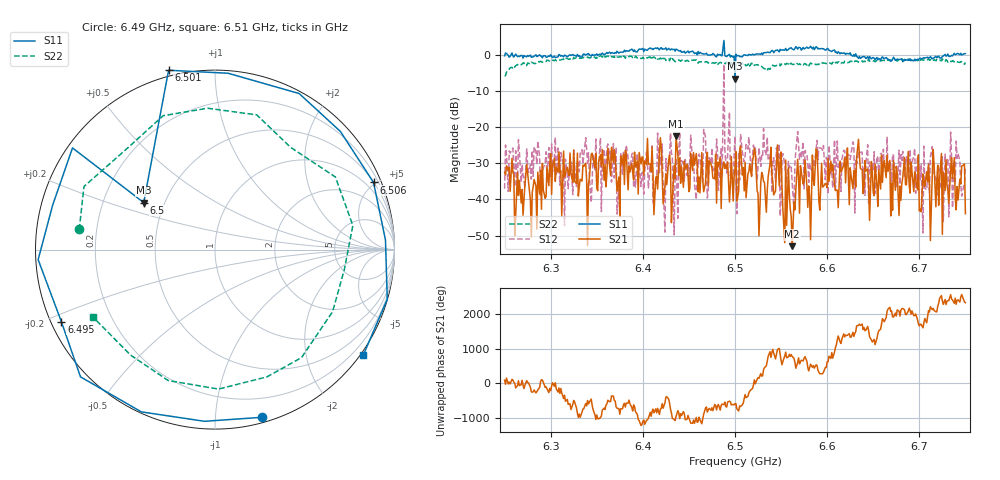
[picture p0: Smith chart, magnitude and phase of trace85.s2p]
# Hz S RI R 50
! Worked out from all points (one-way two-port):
!   401 points, 6.25 GHz to 6.75 GHz, reference 50 ohm
!   highest |S21| = -22.51 dB at 6.436 GHz (marker M1); lowest = -53.0 dB at 6.562 GHz (marker M2)
!   lowest |S11| = -6.5 dB at 6.5 GHz (marker M3), VSWR 2.81, Z = 19.1 + j13 ohm
!   |S11| at or under -10 dB: nowhere
!   |S22| runs from -5.8 to 0.0 dB; largest |S21 - S12| = 0.76
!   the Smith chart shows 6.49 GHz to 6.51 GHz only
!   S11 on the Smith chart (normalised r, x): 6.49 GHz: 0.04, -1.32; 6.495 GHz: 0.03, -0.22; 6.5 GHz: 0.38, +0.26; 6.501 GHz: -0.03, +0.77; 6.506 GHz: 0.52, +4.87; 6.51 GHz: -0.08, -3.12
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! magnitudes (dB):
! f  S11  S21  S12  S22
! 6.25 GHz  -0.2  -32.5  -37.0  -5.8
! 6.264 GHz  -0.4  -32.5  -37.5  -2.6
! 6.334 GHz  -0.5  -34.9  -26.2  -0.8
! 6.375 GHz  0.8  -44.8  -41.0  -0.4
! 6.381 GHz  1.0  -26.4  -27.7  -0.8
! 6.418 GHz  1.5  -27.0  -32.6  -1.0
! 6.43 GHz  1.5  -30.7  -21.6  -0.8
! 6.436 GHz  1.7  -22.5  -28.7  -1.5
! 6.441 GHz  1.3  -35.5  -34.4  -1.7
! 6.49 GHz  -0.3  -30.4  -29.6  -2.3
! 6.495 GHz  -0.5  -35.8  -33.5  -2.1
! 6.5 GHz  -6.5  -31.7  -22.5  -2.2
! 6.501 GHz  0.3  -26.7  -36.5  -2.7
! 6.506 GHz  -0.4  -25.3  -21.9  -2.2
! 6.51 GHz  0.1  -37.6  -29.6  -2.2
! 6.548 GHz  0.9  -36.2  -24.6  -2.4
! 6.562 GHz  1.7  -53.0  -35.0  -2.6
! 6.574 GHz  2.2  -35.8  -24.0  -2.8
! 6.584 GHz  1.8  -27.7  -32.7  -2.4
! 6.586 GHz  1.6  -36.1  -31.1  -2.3
! 6.668 GHz  -1.3  -29.2  -29.6  -1.5
! 6.75 GHz  0.5  -43.9  -30.9  -2.0
